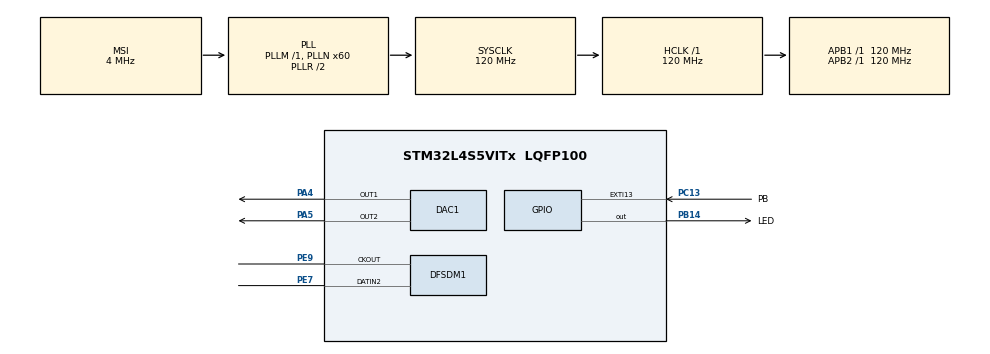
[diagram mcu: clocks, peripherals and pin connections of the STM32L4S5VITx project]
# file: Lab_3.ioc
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DAC1.DAC_Channel-DAC_OUT2=DAC_CHANNEL_2
DAC1.DAC_HighFrequency-DAC_OUT1=DAC_HIGH_FREQUENCY_INTERFACE_MODE_ABOVE_80MHZ
DAC1.DAC_SampleAndHold-DAC_OUT1=DAC_SAMPLEANDHOLD_DISABLE
DAC1.DAC_Trigger-DAC_OUT1=DAC_TRIGGER_T2_TRGO
DAC1.DAC_Trigger-DAC_OUT2=DAC_TRIGGER_T4_TRGO
DFSDM1.Divider=60
DFSDM1.DmaMode_reg_FIL0=ENABLE
DFSDM1.FastMode_reg_FIL0=ENABLE
DFSDM1.Filter_regChannel_FIL0=DFSDM_CHANNEL_2
DFSDM1.Filter_regChannel_FIL1=__NULL
DFSDM1.Filter_regContinuousMode_FIL0=DFSDM_CONTINUOUS_CONV_ON
DFSDM1.Fosr_FIL0=100
DFSDM1.SincOrder_FIL0=DFSDM_FILTER_SINC3_ORDER
Dma.DAC1_CH1.0.Direction=DMA_MEMORY_TO_PERIPH
Dma.DAC1_CH1.0.EventEnable=DISABLE
Dma.DAC1_CH1.0.Instance=DMA1_Channel1
Dma.DAC1_CH1.0.MemDataAlignment=DMA_MDATAALIGN_HALFWORD
Dma.DAC1_CH1.0.MemInc=DMA_MINC_ENABLE
Dma.DAC1_CH1.0.Mode=DMA_CIRCULAR
Dma.DAC1_CH1.0.PeriphDataAlignment=DMA_PDATAALIGN_HALFWORD
Dma.DAC1_CH1.0.PeriphInc=DMA_PINC_DISABLE
Dma.DAC1_CH1.0.Polarity=HAL_DMAMUX_REQUEST_GEN_RISING
Dma.DAC1_CH1.0.Priority=DMA_PRIORITY_LOW
Dma.DAC1_CH1.0.RequestNumber=1
Dma.DAC1_CH1.0.SignalID=NONE
Dma.DAC1_CH1.0.SyncEnable=DISABLE
Dma.DAC1_CH1.0.SyncPolarity=HAL_DMAMUX_SYNC_NO_EVENT
Dma.DAC1_CH1.0.SyncRequestNumber=1
Dma.DAC1_CH1.0.SyncSignalID=NONE
Dma.DAC1_CH2.2.Direction=DMA_MEMORY_TO_PERIPH
Dma.DAC1_CH2.2.EventEnable=DISABLE
Dma.DAC1_CH2.2.Instance=DMA1_Channel2
Dma.DAC1_CH2.2.MemDataAlignment=DMA_MDATAALIGN_WORD
Dma.DAC1_CH2.2.MemInc=DMA_MINC_ENABLE
Dma.DAC1_CH2.2.Mode=DMA_CIRCULAR
Dma.DAC1_CH2.2.PeriphDataAlignment=DMA_PDATAALIGN_WORD
Dma.DAC1_CH2.2.PeriphInc=DMA_PINC_DISABLE
Dma.DAC1_CH2.2.Polarity=HAL_DMAMUX_REQUEST_GEN_RISING
Dma.DAC1_CH2.2.Priority=DMA_PRIORITY_LOW
Dma.DAC1_CH2.2.RequestNumber=1
Dma.DAC1_CH2.2.SignalID=NONE
Dma.DAC1_CH2.2.SyncEnable=DISABLE
Dma.DAC1_CH2.2.SyncPolarity=HAL_DMAMUX_SYNC_NO_EVENT
Dma.DAC1_CH2.2.SyncRequestNumber=1
Dma.DAC1_CH2.2.SyncSignalID=NONE
Dma.DFSDM1_FLT0.1.Direction=DMA_PERIPH_TO_MEMORY
Dma.DFSDM1_FLT0.1.EventEnable=DISABLE
Dma.DFSDM1_FLT0.1.Instance=DMA1_Channel3
Dma.DFSDM1_FLT0.1.MemDataAlignment=DMA_MDATAALIGN_WORD
Dma.DFSDM1_FLT0.1.MemInc=DMA_MINC_ENABLE
Dma.DFSDM1_FLT0.1.Mode=DMA_NORMAL
Dma.DFSDM1_FLT0.1.PeriphDataAlignment=DMA_PDATAALIGN_WORD
Dma.DFSDM1_FLT0.1.PeriphInc=DMA_PINC_DISABLE
Dma.DFSDM1_FLT0.1.Polarity=HAL_DMAMUX_REQUEST_GEN_RISING
Dma.DFSDM1_FLT0.1.Priority=DMA_PRIORITY_LOW
Dma.DFSDM1_FLT0.1.RequestNumber=1
Dma.DFSDM1_FLT0.1.SignalID=NONE
Dma.DFSDM1_FLT0.1.SyncEnable=DISABLE
Dma.DFSDM1_FLT0.1.SyncPolarity=HAL_DMAMUX_SYNC_NO_EVENT
Dma.DFSDM1_FLT0.1.SyncRequestNumber=1
Dma.DFSDM1_FLT0.1.SyncSignalID=NONE
Dma.Request0=DAC1_CH1
Dma.Request1=DFSDM1_FLT0
Dma.Request2=DAC1_CH2
Mcu.Family=STM32L4
Mcu.Name=STM32L4S5VITx
Mcu.Package=LQFP100
NVIC.DMA1_Channel1_IRQn=true\:0\:0\:false\:false\:true\:false\:true\:true
NVIC.DMA1_Channel2_IRQn=true\:0\:0\:false\:false\:true\:false\:true\:true
NVIC.DMA1_Channel3_IRQn=true\:0\:0\:false\:false\:true\:false\:true\:true
NVIC.EXTI15_10_IRQn=true\:0\:0\:false\:false\:true\:true\:true\:true
NVIC.PriorityGroup=NVIC_PRIORITYGROUP_4
NVIC.TIM2_IRQn=true\:0\:0\:false\:false\:true\:true\:true\:true
NVIC.TIM3_IRQn=true\:0\:0\:false\:false\:true\:true\:true\:true
NVIC.TIM5_IRQn=true\:0\:0\:false\:false\:true\:true\:true\:true
PA4.Signal=COMP_DAC11_group
PA5.Signal=COMP_DAC12_group
PB14.GPIO_Label=LED
PB14.Signal=GPIO_Output
PB3\ (JTDO/TRACESWO).Signal=SYS_JTDO-SWO
PC13.GPIO_Label=PB
PC13.Signal=GPXTI13
PE7.Signal=S_DATAIN2DFSDM1
PE9.Signal=S_CKOUTDFSDM1
ProjectManager.HeapSize=0x200
ProjectManager.StackSize=0x400
ProjectManager.TargetToolchain=STM32CubeIDE
RCC.ADCFreq_Value=48000000
RCC.AHBFreq_Value=120000000
RCC.APB1Freq_Value=120000000
RCC.APB1TimFreq_Value=120000000
RCC.APB2Freq_Value=120000000
RCC.APB2TimFreq_Value=120000000
RCC.CortexFreq_Value=120000000
RCC.HCLKFreq_Value=120000000
RCC.HSE_VALUE=8000000
RCC.HSI48_VALUE=48000000
RCC.HSI_VALUE=16000000
RCC.LSE_VALUE=32768
RCC.MSI_VALUE=4000000
RCC.PLLN=60
RCC.PLLSAI1N=24
RCC.SYSCLKFreq_VALUE=120000000
RCC.SYSCLKSource=RCC_SYSCLKSOURCE_PLLCLK
RCC.USBFreq_Value=48000000
RCC.VCOOutputFreq_Value=240000000
SH.COMP_DAC11_group.0=DAC1_OUT1,DAC_OUT1
SH.COMP_DAC12_group.0=DAC1_OUT2,DAC_OUT2
SH.S_CKOUTDFSDM1.0=DFSDM1_CKOUT,PDM_SPI_input_from_ch2_and_internal_clock
SH.S_CKOUTDFSDM1.1=DFSDM1_CKOUT,CKOUT
SH.S_DATAIN2DFSDM1.0=DFSDM1_DATIN2,PDM_SPI_input_from_ch2_and_internal_clock
TIM2.Period=3000
TIM2.Prescaler=40000
TIM2.TIM_MasterOutputTrigger=TIM_TRGO_UPDATE
TIM3.Period=3000
TIM3.Prescaler=10000
TIM3.TIM_MasterOutputTrigger=TIM_TRGO_UPDATE
TIM4.Period=6000
TIM4.TIM_MasterOutputTrigger=TIM_TRGO_UPDATE
TIM5.Period=6000
TIM5.Prescaler=40000
VP_TIM2_VS_ClockSourceINT.Mode=Internal
VP_TIM3_VS_ClockSourceINT.Mode=Internal
VP_TIM4_VS_ClockSourceINT.Mode=Internal
VP_TIM5_VS_ClockSourceINT.Mode=Internal
board=B-L4S5I-IOT01A

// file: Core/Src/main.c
/* USER CODE BEGIN Header */
/**
  ******************************************************************************
  * @file           : main.c
  * @brief          : Main program body
  ******************************************************************************
  * @attention
  *
  * Copyright (c) 2023 STMicroelectronics.
  * All rights reserved.
  *
  * This software is licensed under terms that can be found in the LICENSE file
  * in the root directory of this software component.
  * If no LICENSE file comes with this software, it is provided AS-IS.
  *
  ******************************************************************************
  */
/* USER CODE END Header */
#include "main.h"

/* USER CODE BEGIN Includes */
#define ARM_MATH_CM4
#include "arm_math.h"
#include <math.h>
/* USER CODE END Includes */

/* USER CODE BEGIN PD */
#define ITM_Port32(n) (*((volatile unsigned long *) (0xE0000000+4*n)))
/* USER CODE END PD */

/* USER CODE BEGIN PM */
#define VALUE_LIMIT 2730

// Part 1
//#define SIZE 30

// Part 2 and 3
//#define SIZE 30
//#define AD_FREQ 20000
//#define TALKING_TIME_S 2
//#define AUDIO_SIZE TALKING_TIME_S*AD_FREQ

// Part 4
#define SIZE 3
#define AD_FREQ 20000
#define TALKING_TIME_S 2
#define AUDIO_SIZE TALKING_TIME_S*AD_FREQ
/* USER CODE END PM */

DAC_HandleTypeDef hdac1;
DMA_HandleTypeDef hdma_dac1_ch1;
DMA_HandleTypeDef hdma_dac1_ch2;

DFSDM_Filter_HandleTypeDef hdfsdm1_filter0;
DFSDM_Channel_HandleTypeDef hdfsdm1_channel2;
DMA_HandleTypeDef hdma_dfsdm1_flt0;

TIM_HandleTypeDef htim2;
TIM_HandleTypeDef htim3;
TIM_HandleTypeDef htim4;
TIM_HandleTypeDef htim5;

void SystemClock_Config(void);
static void MX_GPIO_Init(void);
static void MX_DMA_Init(void);
static void MX_DAC1_Init(void);
static void MX_TIM2_Init(void);
static void MX_DFSDM1_Init(void);
static void MX_TIM4_Init(void);
static void MX_TIM3_Init(void);
static void MX_TIM5_Init(void);
/* USER CODE BEGIN PFP */
void gen_sine(void);
//uint16_t* gen_notes(uint16_t);
void gen_notes(void);
/* USER CODE END PFP */

/* USER CODE BEGIN 0 */
//uint16_t sine[SIZE];
uint16_t sine[SIZE];
uint32_t audio[AUDIO_SIZE];
uint16_t sine_index = 0;
uint16_t counter = 0;
uint32_t val = 0;
uint16_t song_index = 0;
uint16_t state = -1;

uint32_t note_0[SIZE*20];
uint32_t note_1[SIZE*2];
uint32_t note_2[SIZE*4];
uint32_t note_3[SIZE*8];
uint32_t note_4[SIZE*16];
uint32_t note_5[SIZE*32];

/* USER CODE END 0 */

int main(void)
{

  /* MCU Configuration--------------------------------------------------------*/

  /* Reset of all peripherals, Initializes the Flash interface and the Systick. */
  HAL_Init();

  /* Configure the system clock */
  SystemClock_Config();

  /* Initialize all configured peripherals */
  MX_GPIO_Init();
  MX_DMA_Init();
  MX_DAC1_Init();
  MX_TIM2_Init();
  MX_DFSDM1_Init();
  MX_TIM4_Init();
  MX_TIM3_Init();
  MX_TIM5_Init();
  /* USER CODE BEGIN 2 */
  /*
   * Part 1
   */
//  HAL_DAC_Start(&hdac1, DAC_CHANNEL_1);
  /*
   * Part 2
   */
  //HAL_DAC_Start_DMA(&hdac1, DAC_CHANNEL_1, sine, SIZE, DAC_ALIGN_12B_R);

  //HAL_TIM_Base_Start_IT(&htim2);
  HAL_TIM_Base_Start_IT(&htim4);

  gen_sine();
  gen_notes();
//  *note_0 = gen_notes(SIZE*20);
//  *note_1 = gen_notes(SIZE*2);
//  *note_2 = gen_notes(SIZE*4);
//  *note_3 = gen_notes(SIZE*8);
//  *note_4 = gen_notes(SIZE*16);
//  *note_5 = gen_notes(SIZE*32);

  //HAL_DAC_Start_DMA(&hdac1, DAC_CHANNEL_1, note_0, SIZE, DAC_ALIGN_12B_R);
  /* USER CODE END 2 */

  /* Infinite loop */
  while (1)
  {

  }
}

void SystemClock_Config(void)
{
  RCC_OscInitTypeDef RCC_OscInitStruct = {0};
  RCC_ClkInitTypeDef RCC_ClkInitStruct = {0};

  /** Configure the main internal regulator output voltage
  */
  if (HAL_PWREx_ControlVoltageScaling(PWR_REGULATOR_VOLTAGE_SCALE1_BOOST) != HAL_OK)
  {
    Error_Handler();
  }

  /** Initializes the RCC Oscillators according to the specified parameters
  * in the RCC_OscInitTypeDef structure.
  */
  RCC_OscInitStruct.OscillatorType = RCC_OSCILLATORTYPE_MSI;
  RCC_OscInitStruct.MSIState = RCC_MSI_ON;
  RCC_OscInitStruct.MSICalibrationValue = 0;
  RCC_OscInitStruct.MSIClockRange = RCC_MSIRANGE_6;
  RCC_OscInitStruct.PLL.PLLState = RCC_PLL_ON;
  RCC_OscInitStruct.PLL.PLLSource = RCC_PLLSOURCE_MSI;
  RCC_OscInitStruct.PLL.PLLM = 1;
  RCC_OscInitStruct.PLL.PLLN = 60;
  RCC_OscInitStruct.PLL.PLLP = RCC_PLLP_DIV2;
  RCC_OscInitStruct.PLL.PLLQ = RCC_PLLQ_DIV2;
  RCC_OscInitStruct.PLL.PLLR = RCC_PLLR_DIV2;
  if (HAL_RCC_OscConfig(&RCC_OscInitStruct) != HAL_OK)
  {
    Error_Handler();
  }

  /** Initializes the CPU, AHB and APB buses clocks
  */
  RCC_ClkInitStruct.ClockType = RCC_CLOCKTYPE_HCLK|RCC_CLOCKTYPE_SYSCLK
                              |RCC_CLOCKTYPE_PCLK1|RCC_CLOCKTYPE_PCLK2;
  RCC_ClkInitStruct.SYSCLKSource = RCC_SYSCLKSOURCE_PLLCLK;
  RCC_ClkInitStruct.AHBCLKDivider = RCC_SYSCLK_DIV1;
  RCC_ClkInitStruct.APB1CLKDivider = RCC_HCLK_DIV1;
  RCC_ClkInitStruct.APB2CLKDivider = RCC_HCLK_DIV1;

  if (HAL_RCC_ClockConfig(&RCC_ClkInitStruct, FLASH_LATENCY_5) != HAL_OK)
  {
    Error_Handler();
  }
}

static void MX_DAC1_Init(void)
{

  DAC_ChannelConfTypeDef sConfig = {0};

  /** DAC Initialization
  */
  hdac1.Instance = DAC1;
  if (HAL_DAC_Init(&hdac1) != HAL_OK)
  {
    Error_Handler();
  }

  /** DAC channel OUT1 config
  */
  sConfig.DAC_SampleAndHold = DAC_SAMPLEANDHOLD_DISABLE;
  sConfig.DAC_Trigger = DAC_TRIGGER_T2_TRGO;
  sConfig.DAC_HighFrequency = DAC_HIGH_FREQUENCY_INTERFACE_MODE_ABOVE_80MHZ;
  sConfig.DAC_OutputBuffer = DAC_OUTPUTBUFFER_ENABLE;
  sConfig.DAC_ConnectOnChipPeripheral = DAC_CHIPCONNECT_DISABLE;
  sConfig.DAC_UserTrimming = DAC_TRIMMING_FACTORY;
  if (HAL_DAC_ConfigChannel(&hdac1, &sConfig, DAC_CHANNEL_1) != HAL_OK)
  {
    Error_Handler();
  }

  /** DAC channel OUT2 config
  */
  sConfig.DAC_Trigger = DAC_TRIGGER_T4_TRGO;
  if (HAL_DAC_ConfigChannel(&hdac1, &sConfig, DAC_CHANNEL_2) != HAL_OK)
  {
    Error_Handler();
  }

}

static void MX_DFSDM1_Init(void)
{

  hdfsdm1_filter0.Instance = DFSDM1_Filter0;
  hdfsdm1_filter0.Init.RegularParam.Trigger = DFSDM_FILTER_SW_TRIGGER;
  hdfsdm1_filter0.Init.RegularParam.FastMode = ENABLE;
  hdfsdm1_filter0.Init.RegularParam.DmaMode = ENABLE;
  hdfsdm1_filter0.Init.FilterParam.SincOrder = DFSDM_FILTER_SINC3_ORDER;
  hdfsdm1_filter0.Init.FilterParam.Oversampling = 100;
  hdfsdm1_filter0.Init.FilterParam.IntOversampling = 1;
  if (HAL_DFSDM_FilterInit(&hdfsdm1_filter0) != HAL_OK)
  {
    Error_Handler();
  }
  hdfsdm1_channel2.Instance = DFSDM1_Channel2;
  hdfsdm1_channel2.Init.OutputClock.Activation = ENABLE;
  hdfsdm1_channel2.Init.OutputClock.Selection = DFSDM_CHANNEL_OUTPUT_CLOCK_SYSTEM;
  hdfsdm1_channel2.Init.OutputClock.Divider = 60;
  hdfsdm1_channel2.Init.Input.Multiplexer = DFSDM_CHANNEL_EXTERNAL_INPUTS;
  hdfsdm1_channel2.Init.Input.DataPacking = DFSDM_CHANNEL_STANDARD_MODE;
  hdfsdm1_channel2.Init.Input.Pins = DFSDM_CHANNEL_SAME_CHANNEL_PINS;
  hdfsdm1_channel2.Init.SerialInterface.Type = DFSDM_CHANNEL_SPI_RISING;
  hdfsdm1_channel2.Init.SerialInterface.SpiClock = DFSDM_CHANNEL_SPI_CLOCK_INTERNAL;
  hdfsdm1_channel2.Init.Awd.FilterOrder = DFSDM_CHANNEL_FASTSINC_ORDER;
  hdfsdm1_channel2.Init.Awd.Oversampling = 1;
  hdfsdm1_channel2.Init.Offset = 0;
  hdfsdm1_channel2.Init.RightBitShift = 0x00;
  if (HAL_DFSDM_ChannelInit(&hdfsdm1_channel2) != HAL_OK)
  {
    Error_Handler();
  }
  if (HAL_DFSDM_FilterConfigRegChannel(&hdfsdm1_filter0, DFSDM_CHANNEL_2, DFSDM_CONTINUOUS_CONV_ON) != HAL_OK)
  {
    Error_Handler();
  }

}

static void MX_TIM2_Init(void)
{

  TIM_ClockConfigTypeDef sClockSourceConfig = {0};
  TIM_MasterConfigTypeDef sMasterConfig = {0};

  htim2.Instance = TIM2;
  htim2.Init.Prescaler = 0;
  htim2.Init.CounterMode = TIM_COUNTERMODE_UP;
  htim2.Init.Period = 2721;
  htim2.Init.ClockDivision = TIM_CLOCKDIVISION_DIV1;
  htim2.Init.AutoReloadPreload = TIM_AUTORELOAD_PRELOAD_DISABLE;
  if (HAL_TIM_Base_Init(&htim2) != HAL_OK)
  {
    Error_Handler();
  }
  sClockSourceConfig.ClockSource = TIM_CLOCKSOURCE_INTERNAL;
  if (HAL_TIM_ConfigClockSource(&htim2, &sClockSourceConfig) != HAL_OK)
  {
    Error_Handler();
  }
  sMasterConfig.MasterOutputTrigger = TIM_TRGO_UPDATE;
  sMasterConfig.MasterSlaveMode = TIM_MASTERSLAVEMODE_DISABLE;
  if (HAL_TIMEx_MasterConfigSynchronization(&htim2, &sMasterConfig) != HAL_OK)
  {
    Error_Handler();
  }

}

static void MX_TIM3_Init(void)
{

  TIM_ClockConfigTypeDef sClockSourceConfig = {0};
  TIM_MasterConfigTypeDef sMasterConfig = {0};

  htim3.Instance = TIM3;
  htim3.Init.Prescaler = 10000;
  htim3.Init.CounterMode = TIM_COUNTERMODE_UP;
  htim3.Init.Period = 3000;
  htim3.Init.ClockDivision = TIM_CLOCKDIVISION_DIV1;
  htim3.Init.AutoReloadPreload = TIM_AUTORELOAD_PRELOAD_DISABLE;
  if (HAL_TIM_Base_Init(&htim3) != HAL_OK)
  {
    Error_Handler();
  }
  sClockSourceConfig.ClockSource = TIM_CLOCKSOURCE_INTERNAL;
  if (HAL_TIM_ConfigClockSource(&htim3, &sClockSourceConfig) != HAL_OK)
  {
    Error_Handler();
  }
  sMasterConfig.MasterOutputTrigger = TIM_TRGO_UPDATE;
  sMasterConfig.MasterSlaveMode = TIM_MASTERSLAVEMODE_DISABLE;
  if (HAL_TIMEx_MasterConfigSynchronization(&htim3, &sMasterConfig) != HAL_OK)
  {
    Error_Handler();
  }

}

static void MX_TIM4_Init(void)
{

  TIM_ClockConfigTypeDef sClockSourceConfig = {0};
  TIM_MasterConfigTypeDef sMasterConfig = {0};

  htim4.Instance = TIM4;
  htim4.Init.Prescaler = 0;
  htim4.Init.CounterMode = TIM_COUNTERMODE_UP;
  htim4.Init.Period = 6000;
  htim4.Init.ClockDivision = TIM_CLOCKDIVISION_DIV1;
  htim4.Init.AutoReloadPreload = TIM_AUTORELOAD_PRELOAD_DISABLE;
  if (HAL_TIM_Base_Init(&htim4) != HAL_OK)
  {
    Error_Handler();
  }
  sClockSourceConfig.ClockSource = TIM_CLOCKSOURCE_INTERNAL;
  if (HAL_TIM_ConfigClockSource(&htim4, &sClockSourceConfig) != HAL_OK)
  {
    Error_Handler();
  }
  sMasterConfig.MasterOutputTrigger = TIM_TRGO_UPDATE;
  sMasterConfig.MasterSlaveMode = TIM_MASTERSLAVEMODE_DISABLE;
  if (HAL_TIMEx_MasterConfigSynchronization(&htim4, &sMasterConfig) != HAL_OK)
  {
    Error_Handler();
  }

}

static void MX_TIM5_Init(void)
{

  TIM_ClockConfigTypeDef sClockSourceConfig = {0};
  TIM_MasterConfigTypeDef sMasterConfig = {0};

  htim5.Instance = TIM5;
  htim5.Init.Prescaler = 40000;
  htim5.Init.CounterMode = TIM_COUNTERMODE_UP;
  htim5.Init.Period = 6000;
  htim5.Init.ClockDivision = TIM_CLOCKDIVISION_DIV1;
  htim5.Init.AutoReloadPreload = TIM_AUTORELOAD_PRELOAD_DISABLE;
  if (HAL_TIM_Base_Init(&htim5) != HAL_OK)
  {
    Error_Handler();
  }
  sClockSourceConfig.ClockSource = TIM_CLOCKSOURCE_INTERNAL;
  if (HAL_TIM_ConfigClockSource(&htim5, &sClockSourceConfig) != HAL_OK)
  {
    Error_Handler();
  }
  sMasterConfig.MasterOutputTrigger = TIM_TRGO_RESET;
  sMasterConfig.MasterSlaveMode = TIM_MASTERSLAVEMODE_DISABLE;
  if (HAL_TIMEx_MasterConfigSynchronization(&htim5, &sMasterConfig) != HAL_OK)
  {
    Error_Handler();
  }

}

static void MX_DMA_Init(void)
{

  /* DMA controller clock enable */
  __HAL_RCC_DMAMUX1_CLK_ENABLE();
  __HAL_RCC_DMA1_CLK_ENABLE();

  /* DMA interrupt init */
  /* DMA1_Channel1_IRQn interrupt configuration */
  HAL_NVIC_SetPriority(DMA1_Channel1_IRQn, 0, 0);
  HAL_NVIC_EnableIRQ(DMA1_Channel1_IRQn);
  /* DMA1_Channel2_IRQn interrupt configuration */
  HAL_NVIC_SetPriority(DMA1_Channel2_IRQn, 0, 0);
  HAL_NVIC_EnableIRQ(DMA1_Channel2_IRQn);
  /* DMA1_Channel3_IRQn interrupt configuration */
  HAL_NVIC_SetPriority(DMA1_Channel3_IRQn, 0, 0);
  HAL_NVIC_EnableIRQ(DMA1_Channel3_IRQn);

}

static void MX_GPIO_Init(void)
{
  GPIO_InitTypeDef GPIO_InitStruct = {0};

  /* GPIO Ports Clock Enable */
  __HAL_RCC_GPIOC_CLK_ENABLE();
  __HAL_RCC_GPIOA_CLK_ENABLE();
  __HAL_RCC_GPIOE_CLK_ENABLE();
  __HAL_RCC_GPIOB_CLK_ENABLE();

  /*Configure GPIO pin Output Level */
  HAL_GPIO_WritePin(LED_GPIO_Port, LED_Pin, GPIO_PIN_RESET);

  /*Configure GPIO pin : PB_Pin */
  GPIO_InitStruct.Pin = PB_Pin;
  GPIO_InitStruct.Mode = GPIO_MODE_IT_RISING;
  GPIO_InitStruct.Pull = GPIO_NOPULL;
  HAL_GPIO_Init(PB_GPIO_Port, &GPIO_InitStruct);

  /*Configure GPIO pin : LED_Pin */
  GPIO_InitStruct.Pin = LED_Pin;
  GPIO_InitStruct.Mode = GPIO_MODE_OUTPUT_PP;
  GPIO_InitStruct.Pull = GPIO_NOPULL;
  GPIO_InitStruct.Speed = GPIO_SPEED_FREQ_LOW;
  HAL_GPIO_Init(LED_GPIO_Port, &GPIO_InitStruct);

  /* EXTI interrupt init*/
  HAL_NVIC_SetPriority(EXTI15_10_IRQn, 0, 0);
  HAL_NVIC_EnableIRQ(EXTI15_10_IRQn);

}

/* USER CODE BEGIN 4 */

// Part 1
//void HAL_GPIO_EXTI_Callback (uint16_t GPIO_Pin){
//	//start timer for led
//	HAL_GPIO_TogglePin(LED_GPIO_Port, LED_Pin);
//}

/*
 * Part 1
 */
//void HAL_TIM_PeriodElapsedCallback (TIM_HandleTypeDef * htim){
//	counter++;
//	if (counter == 14){
//		HAL_DAC_SetValue(&hdac1, DAC_CHANNEL_1, DAC_ALIGN_12B_R, (uint32_t)(sine[sine_index]));
//		sine_index++;
//		counter = 0;
//		if (sine_index == SIZE) sine_index = 0;
//	}
//
//}

// Part 3
/*
void HAL_GPIO_EXTI_Callback (uint16_t GPIO_Pin){
	HAL_TIM_Base_Start_IT(&htim3);				// Start timer 3 for LED
	HAL_DAC_Stop_DMA(&hdac1, DAC_CHANNEL_2);	// Stop playing looped audio
	HAL_DFSDM_FilterRegularStart_DMA(&hdfsdm1_filter0, audio, AUDIO_SIZE);	// Start recording
}

void HAL_DFSDM_FilterRegConvCpltCallback (DFSDM_Filter_HandleTypeDef * hdfsdm_filter){
	HAL_DFSDM_FilterRegularStop_DMA(&hdfsdm1_filter0);			// Stop recording
	HAL_TIM_Base_Stop_IT(&htim3);								// Stop timer for led
	HAL_GPIO_WritePin(LED_GPIO_Port, LED_Pin, GPIO_PIN_SET);	// Turn on Led

	// Scale audio
	for (int i = 0; i<AUDIO_SIZE; i++){
		val = (uint32_t)(audio[i]/256 + pow(2, 23)/pow(2,12));
		audio[i]= val;
	}
	HAL_DAC_Start_DMA(&hdac1, DAC_CHANNEL_2, audio, AUDIO_SIZE, DAC_ALIGN_12B_R);	// Play looped audio
}

void HAL_TIM_PeriodElapsedCallback (TIM_HandleTypeDef * htim){
	if (htim == &htim3){
		HAL_GPIO_TogglePin(LED_GPIO_Port, LED_Pin);
	}

}
*/

// Part 4
void HAL_GPIO_EXTI_Callback (uint16_t GPIO_Pin){
	song_index = 0;
	state = (state + 1)%2;
	if (state == 0){
		HAL_TIM_Base_Stop_IT(&htim5);
		HAL_TIM_Base_Start_IT(&htim3);				// Start timer 3 for LED
		HAL_DAC_Stop_DMA(&hdac1, DAC_CHANNEL_2);	// Stop playing looped audio
		HAL_DFSDM_FilterRegularStart_DMA(&hdfsdm1_filter0, audio, AUDIO_SIZE);	// Start recording
	}
	else if(state == 1){
		HAL_TIM_Base_Start_IT(&htim5);
	}
}

void HAL_DFSDM_FilterRegConvCpltCallback (DFSDM_Filter_HandleTypeDef * hdfsdm_filter){
	HAL_DFSDM_FilterRegularStop_DMA(&hdfsdm1_filter0);			// Stop recording
	HAL_TIM_Base_Stop_IT(&htim3);								// Stop timer for led
	HAL_GPIO_WritePin(LED_GPIO_Port, LED_Pin, GPIO_PIN_RESET);	// Turn on Led

	// Scale audio
	for (int i = 0; i<AUDIO_SIZE; i++){
		val = (((audio[i] >> 8)+ pow(2, 23))/pow(2,12))*2/3;
		audio[i]= val;
	}

}

void HAL_TIM_PeriodElapsedCallback (TIM_HandleTypeDef * htim){
	if (htim == &htim3){
		HAL_GPIO_TogglePin(LED_GPIO_Port, LED_Pin);
	}
	if (htim == &htim5){
		HAL_DAC_Stop_DMA(&hdac1, DAC_CHANNEL_2);	// Stop playing looped audio
		HAL_GPIO_WritePin(LED_GPIO_Port, LED_Pin, GPIO_PIN_SET);	// Turn on Led
		song_index - 5;
		switch(song_index) {
			case 5:
				HAL_DAC_Stop_DMA(&hdac1, DAC_CHANNEL_2);	// Stop playing looped audio

				HAL_DAC_Start_DMA(&hdac1, DAC_CHANNEL_2, note_0, SIZE*20, DAC_ALIGN_12B_R);
			     break;
			case 4:
				HAL_DAC_Stop_DMA(&hdac1, DAC_CHANNEL_2);	// Stop playing looped audio

				HAL_DAC_Start_DMA(&hdac1, DAC_CHANNEL_2, note_1, SIZE*2, DAC_ALIGN_12B_R);
			     break;
			case 3:
				HAL_DAC_Stop_DMA(&hdac1, DAC_CHANNEL_2);	// Stop playing looped audio

				HAL_DAC_Start_DMA(&hdac1, DAC_CHANNEL_2, note_2, SIZE*4, DAC_ALIGN_12B_R);
				break;
			case 2:
				HAL_DAC_Stop_DMA(&hdac1, DAC_CHANNEL_2);	// Stop playing looped audio

				HAL_DAC_Start_DMA(&hdac1, DAC_CHANNEL_2, note_3, SIZE*8, DAC_ALIGN_12B_R);
				break;
			case 1:
				HAL_DAC_Stop_DMA(&hdac1, DAC_CHANNEL_2);	// Stop playing looped audio

				HAL_DAC_Start_DMA(&hdac1, DAC_CHANNEL_2, note_4, SIZE*16, DAC_ALIGN_12B_R);
				break;
			case 0:
				HAL_DAC_Stop_DMA(&hdac1, DAC_CHANNEL_2);	// Stop playing looped audio

				HAL_DAC_Start_DMA(&hdac1, DAC_CHANNEL_2, note_5, SIZE*32, DAC_ALIGN_12B_R);
				break;
			default:
				HAL_DAC_Start_DMA(&hdac1, DAC_CHANNEL_2, audio, AUDIO_SIZE, DAC_ALIGN_12B_R);
			 }
		song_index = (song_index + 1) % 7;
	}

}

void gen_sine(void){
	float theta = 0.0;
	float val = 0.0;
	for (int i = 0; i < SIZE; i++){
		val = (VALUE_LIMIT/2.0)*arm_sin_f32(theta);
		sine[i] = (uint16_t)(val + (VALUE_LIMIT/2.0));
		theta += (2*PI)/(30);
	}
}

//uint16_t* gen_notes(uint16_t size){
//
//	uint16_t *arr = (uint16_t *) malloc(size*sizeof(uint16_t));
//	float theta = 0.0;
//	float val = 0.0;
//	for (int i = 0; i < size; i++){
//		val = (VALUE_LIMIT/2.0)*arm_sin_f32(theta);
//		arr[i] = (uint16_t)(val + (VALUE_LIMIT/2.0));
//		theta += (2*PI)/(size);
//	}
//	return arr;
//}

void gen_notes(void){

	float theta = 0.0;
	float val = 0.0;
	uint32_t size = SIZE*20;
	for (int i = 0; i < size; i++){
		val = (VALUE_LIMIT/2.0)*arm_sin_f32(theta);
		note_0[i] = (uint32_t)(val + (VALUE_LIMIT/2.0));
		theta += (2*PI)/(size);
	}
	theta = 0.0;
	val = 0.0;
	size = SIZE*2;
	for (int i = 0; i < size; i++){
		val = (VALUE_LIMIT/2.0)*arm_sin_f32(theta);
		val = (uint32_t)(val + (VALUE_LIMIT/2.0));
		note_1[i] = val;
		theta += (2*PI)/(size);
	}
	theta = 0.0;
	val = 0.0;
	size = SIZE*4;
	for (int i = 0; i < size; i++){
		val = (VALUE_LIMIT/2.0)*arm_sin_f32(theta);
		note_2[i] = (uint32_t)(val + (VALUE_LIMIT/2.0));
		theta += (2*PI)/(size);
	}
	theta = 0.0;
	val = 0.0;
	size = SIZE*8;
	for (int i = 0; i < size; i++){
		val = (VALUE_LIMIT/2.0)*arm_sin_f32(theta);
		note_3[i] = (uint32_t)(val + (VALUE_LIMIT/2.0));
		theta += (2*PI)/(size);
	}
	theta = 0.0;
	val = 0.0;
	size = SIZE*16;
	for (int i = 0; i < size; i++){
		val = (VALUE_LIMIT/2.0)*arm_sin_f32(theta);
		note_4[i] = (uint32_t)(val + (VALUE_LIMIT/2.0));
		theta += (2*PI)/(size);
	}
	theta = 0.0;
	val = 0.0;
	size = SIZE*32;
	for (int i = 0; i < size; i++){
		val = (VALUE_LIMIT/2.0)*arm_sin_f32(theta);
		note_5[i] = (uint32_t)(val + (VALUE_LIMIT/2.0));
		theta += (2*PI)/(size);
	}
}
/* USER CODE END 4 */

void Error_Handler(void)
{
  __disable_irq();
  while (1)
  {
  }
}
